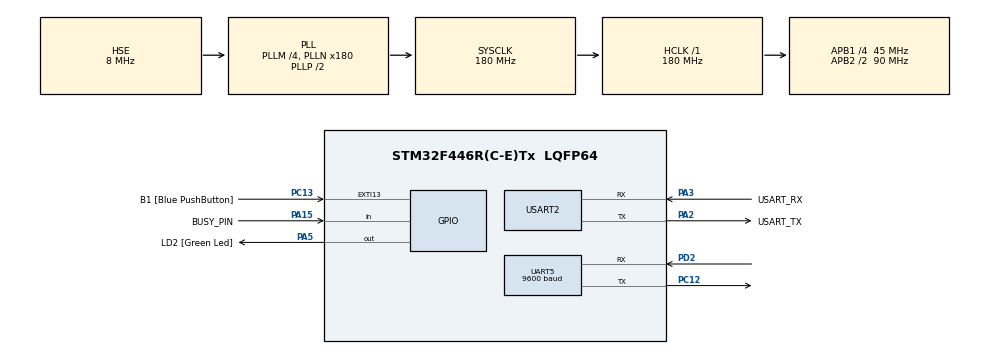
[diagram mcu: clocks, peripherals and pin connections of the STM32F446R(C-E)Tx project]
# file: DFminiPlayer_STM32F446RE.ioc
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Dma.Request0=UART5_TX
Dma.Request1=UART5_RX
Dma.UART5_RX.1.Direction=DMA_PERIPH_TO_MEMORY
Dma.UART5_RX.1.FIFOMode=DMA_FIFOMODE_DISABLE
Dma.UART5_RX.1.Instance=DMA1_Stream0
Dma.UART5_RX.1.MemDataAlignment=DMA_MDATAALIGN_BYTE
Dma.UART5_RX.1.MemInc=DMA_MINC_ENABLE
Dma.UART5_RX.1.Mode=DMA_NORMAL
Dma.UART5_RX.1.PeriphDataAlignment=DMA_PDATAALIGN_BYTE
Dma.UART5_RX.1.PeriphInc=DMA_PINC_DISABLE
Dma.UART5_RX.1.Priority=DMA_PRIORITY_LOW
Dma.UART5_TX.0.Direction=DMA_MEMORY_TO_PERIPH
Dma.UART5_TX.0.FIFOMode=DMA_FIFOMODE_DISABLE
Dma.UART5_TX.0.Instance=DMA1_Stream7
Dma.UART5_TX.0.MemDataAlignment=DMA_MDATAALIGN_BYTE
Dma.UART5_TX.0.MemInc=DMA_MINC_ENABLE
Dma.UART5_TX.0.Mode=DMA_NORMAL
Dma.UART5_TX.0.PeriphDataAlignment=DMA_PDATAALIGN_BYTE
Dma.UART5_TX.0.PeriphInc=DMA_PINC_DISABLE
Dma.UART5_TX.0.Priority=DMA_PRIORITY_LOW
Mcu.Family=STM32F4
Mcu.Name=STM32F446R(C-E)Tx
Mcu.Package=LQFP64
NVIC.DMA1_Stream0_IRQn=true\:0\:0\:false\:false\:true\:false\:true\:true
NVIC.DMA1_Stream7_IRQn=true\:0\:0\:false\:false\:true\:false\:true\:true
NVIC.PriorityGroup=NVIC_PRIORITYGROUP_0
PA13.GPIO_Label=TMS
PA13.Mode=Serial_Wire
PA13.Signal=SYS_JTMS-SWDIO
PA14.GPIO_Label=TCK
PA14.Mode=Serial_Wire
PA14.Signal=SYS_JTCK-SWCLK
PA15.GPIO_Label=BUSY_PIN
PA15.Signal=GPIO_Input
PA2.GPIO_Label=USART_TX
PA2.Mode=Asynchronous
PA2.Signal=USART2_TX
PA3.GPIO_Label=USART_RX
PA3.Mode=Asynchronous
PA3.Signal=USART2_RX
PA5.GPIO_Label=LD2 [Green Led]
PA5.Signal=GPIO_Output
PB3.GPIO_Label=SWO
PB3.Signal=SYS_JTDO-SWO
PC12.Mode=Asynchronous
PC12.Signal=UART5_TX
PC13.GPIO_Label=B1 [Blue PushButton]
PC13.GPIO_ModeDefaultEXTI=GPIO_MODE_IT_FALLING
PC13.Signal=GPXTI13
PC14-OSC32_IN.Mode=LSE-External-Oscillator
PC14-OSC32_IN.Signal=RCC_OSC32_IN
PC15-OSC32_OUT.Mode=LSE-External-Oscillator
PC15-OSC32_OUT.Signal=RCC_OSC32_OUT
PD2.Mode=Asynchronous
PD2.Signal=UART5_RX
PH0-OSC_IN.Mode=HSE-External-Oscillator
PH0-OSC_IN.Signal=RCC_OSC_IN
PH1-OSC_OUT.Mode=HSE-External-Oscillator
PH1-OSC_OUT.Signal=RCC_OSC_OUT
ProjectManager.HeapSize=0x200
ProjectManager.StackSize=0x400
ProjectManager.TargetToolchain=CMake
RCC.48MHZClocksFreq_Value=84000000
RCC.AHBFreq_Value=180000000
RCC.APB1CLKDivider=RCC_HCLK_DIV4
RCC.APB1Freq_Value=45000000
RCC.APB1TimFreq_Value=90000000
RCC.APB2CLKDivider=RCC_HCLK_DIV2
RCC.APB2Freq_Value=90000000
RCC.APB2TimFreq_Value=180000000
RCC.CortexFreq_Value=180000000
RCC.FLatency-AdvancedSettings=FLASH_LATENCY_5
RCC.HCLKFreq_Value=180000000
RCC.HSE_VALUE=8000000
RCC.HSI_VALUE=16000000
RCC.PLLM=4
RCC.PLLN=180
RCC.PLLSourceVirtual=RCC_PLLSOURCE_HSE
RCC.SYSCLKFreq_VALUE=180000000
RCC.SYSCLKSource=RCC_SYSCLKSOURCE_PLLCLK
RCC.USBFreq_Value=180000000
RCC.VCOOutputFreq_Value=360000000
TIM3.Period=65535 -1
TIM3.Prescaler=180-1
UART5.BaudRate=9600
UART5.VirtualMode=Asynchronous
USART2.VirtualMode=VM_ASYNC
VP_TIM3_VS_ClockSourceINT.Mode=Internal
board=NUCLEO-F446RE

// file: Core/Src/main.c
/* USER CODE BEGIN Header */
/**
  ******************************************************************************
  * @file           : main.c
  * @brief          : Main program body
  ******************************************************************************
  * @attention
  *
  * Copyright (c) 2025 STMicroelectronics.
  * All rights reserved.
  *
  * This software is licensed under terms that can be found in the LICENSE file
  * in the root directory of this software component.
  * If no LICENSE file comes with this software, it is provided AS-IS.
  *
  ******************************************************************************
  */
/* USER CODE END Header */
#include "main.h"
#include "Serial.h"
#include "dfminiplayer.h"

/* USER CODE BEGIN PM */
struct DFPlayerMiniData dfpl;
#define UART_BUFFER 10
uint8_t Rx3Data[UART_BUFFER];
/* USER CODE END PM */

TIM_HandleTypeDef htim3;

UART_HandleTypeDef huart5;
UART_HandleTypeDef huart2;
DMA_HandleTypeDef hdma_uart5_tx;
DMA_HandleTypeDef hdma_uart5_rx;

void SystemClock_Config(void);
static void MX_GPIO_Init(void);
static void MX_DMA_Init(void);
static void MX_TIM3_Init(void);
static void MX_UART5_Init(void);
static void MX_USART2_UART_Init(void);
/* USER CODE BEGIN PFP */
void printDetail(uint8_t type, int value);
void initmodules();
/* USER CODE END PFP */

/* USER CODE BEGIN 0 */
void HAL_UART_RxCpltCallback( UART_HandleTypeDef *huart )
{
  Serial_pushData(Rx3Data, UART_BUFFER);
	Serial_print(&huart2," %s","R: " );
	for( int i = 0; i < UART_BUFFER; i++ ){
		Serial_print(&huart2,"%1X ",Rx3Data[i] );
	}
	Serial_print(&huart2," %s","\n" );
	HAL_UART_Receive_DMA(huart, Rx3Data,UART_BUFFER);
}

void printDetail(uint8_t type, int value){
  switch (type) {
    case TimeOut:
      Serial_print(&huart2, "%s\n","Time Out!");
      break;
    case WrongStack:
      Serial_print(&huart2, "%s\n","Stack Wrong!");
      break;
    case DFPlayerCardInserted:
      Serial_print(&huart2, "%s\n","Card Inserted!");
      break;
    case DFPlayerCardRemoved:
      Serial_print(&huart2, "%s\n","Card Removed!");
      break;
    case DFPlayerCardOnline:
      Serial_print(&huart2, "%s\n","Card Online!");
      break;
    case DFPlayerUSBInserted:
      Serial_print(&huart2, "%s\n","USB Inserted!");
      break;
    case DFPlayerUSBRemoved:
    Serial_print(&huart2, "%s\n","USB Removed!");
      break;
    case DFPlayerPlayFinished:
      Serial_print(&huart2, "Number %d Play Finished!\n", value);
      break;
    case DFPlayerError:
      Serial_print(&huart2, "%s\n","DFPlayerError:");
      switch (value) {
        case Busy:
          Serial_print(&huart2, "%s\n","Card not found");
          break;
        case Sleeping:
          Serial_print(&huart2, "%s\n","Sleeping");
          break;
        case SerialWrongStack:
          Serial_print(&huart2, "%s\n","Get Wrong Stack");
          break;
        case CheckSumNotMatch:
          Serial_print(&huart2, "%s\n","Check Sum Not Match");
          break;
        case FileIndexOut:
          Serial_print(&huart2, "%s\n","File Index Out of Bound");
          break;
        case FileMismatch:
          Serial_print(&huart2, "%s\n","Cannot Find File");
          break;
        case Advertise:
          Serial_print(&huart2, "%s\n", "In Advertise");
          break;
        default:
          break;
      }
      break;
    default:
      break;
  }

}

void initmodules()
{
      dfpl._timeOutDuration = 500;
      dfpl._sending[0] = 0x7E; //{0x7E, 0xFF, 06, 00, 01, 00, 00, 00, 00, 0xEF};
      dfpl._sending[1] = 0xFF;
      dfpl._sending[2] = 06;
      dfpl._sending[3] = 00;
      dfpl._sending[4] = 01;
      dfpl._sending[5] = 00;
      dfpl._sending[6] = 00;
      dfpl._sending[7] = 00;
      dfpl._sending[8] = 00;
      dfpl._sending[9] = 0xEF;
      dfpl._receivedIndex = 0;
      dfpl.device = DFPLAYER_DEVICE_SD;
      dfpl._isAvailable = false;
      dfpl._isSending = false;
      dfpl.df_uart = huart5;
      dfpl.debug_uart = huart2;
      dfpl.dfBusyPin = BUSY_PIN_Pin;
      dfpl.dfBusyPort = BUSY_PIN_GPIO_Port;

      Serial_print(&huart2, "%s","\n");
      Serial_print(&huart2, "%s","DFRobot DFPlayer Mini Demo on STM32F\n");
      Serial_print(&huart2, "%s","Initializing DFPlayer\n");

  if (!DFPLayerMini_begin(&dfpl,true,true)) {  //Use serial to communicate with mp3.
    Serial_print(&huart2, "%s","Unable to begin:\n");
    Serial_print(&huart2, "%s","1.Please recheck the connection!\n");
    Serial_print(&huart2, "%s","2.Please insert the SD card!\n");
    while(true);
  }
  Serial_print(&huart2, "%s","DFPlayer Mini online.");

  DFPLayerMini_setTimeOut(&dfpl,500); //Set serial communictaion time out 500ms

  //----Set volume----
  DFPLayerMini_volume(&dfpl,10);  //Set volume value (0~30).
  DFPLayerMini_volumeUp(&dfpl); //Volume Up
  DFPLayerMini_volumeDown(&dfpl); //Volume Down

  //----Set different EQ----
  DFPLayerMini_EQ(&dfpl,DFPLAYER_EQ_NORMAL);
//  DFPLayerMini_EQ(&dfpl,DFPLAYER_EQ_POP);
//  DFPLayerMini_EQ(&dfpl,DFPLAYER_EQ_ROCK);
//  DFPLayerMini_EQ(&dfpl,DFPLAYER_EQ_JAZZ);
//  DFPLayerMini_EQ(&dfpl,DFPLAYER_EQ_CLASSIC);
//  DFPLayerMini_EQ(&dfpl,DFPLAYER_EQ_BASS);

  //----Set device we use SD as default----
//  DFPLayerMini_outputDevice(DFPLAYER_DEVICE_U_DISK);
  DFPLayerMini_outputDevice(&dfpl,DFPLAYER_DEVICE_SD);
//  DFPLayerMini_outputDevice(DFPLAYER_DEVICE_AUX);
//  DFPLayerMini_outputDevice(DFPLAYER_DEVICE_SLEEP);
//  DFPLayerMini_outputDevice(DFPLAYER_DEVICE_FLASH);

  //----Mp3 control----
//  DFPLayerMini_sleep();     //sleep
//  DFPLayerMini_reset();     //Reset the module
//  DFPLayerMini_enableDAC();  //Enable On-chip DAC
//  DFPLayerMini_disableDAC();  //Disable On-chip DAC
//  DFPLayerMini_outputSetting(true, 15); //output setting, enable the output and set the gain to 15

  //----Mp3 play----
  DFPLayerMini_next(&dfpl);  //Play next mp3
  HAL_Delay(1000);
  DFPLayerMini_previous(&dfpl);  //Play previous mp3
  HAL_Delay(1000);
  DFPLayerMini_play(&dfpl,1);  //Play the first mp3
  HAL_Delay(1000);
  DFPLayerMini_loop(&dfpl, 1);  //Loop the first mp3
  HAL_Delay(1000);
  DFPLayerMini_pause(&dfpl);  //pause the mp3
  HAL_Delay(1000);
  DFPLayerMini_start(&dfpl);  //start the mp3 from the pause
  HAL_Delay(1000);
  //DFPLayerMini_playFolder(1, 1);  //play specific mp3 in SD:/1/001.mp3; Folder Name(1~99); File Name(1~255)
  //HAL_Delay(1000);
  DFPLayerMini_enableLoopAll(&dfpl); //loop all mp3 files.
  HAL_Delay(1000);
  DFPLayerMini_disableLoopAll(&dfpl); //stop loop all mp3 files.
  HAL_Delay(1000);
  DFPLayerMini_playMp3Folder(&dfpl,4); //play specific mp3 in SD:/MP3/0004.mp3; File Name(0~65535)
  HAL_Delay(1000);
  DFPLayerMini_advertise(&dfpl,3); //advertise specific mp3 in SD:/ADVERT/0003.mp3; File Name(0~65535)
  HAL_Delay(1000);
  DFPLayerMini_stopAdvertise(&dfpl); //stop advertise
  HAL_Delay(1000);
  //DFPLayerMini_playLargeFolder(&dfpl,2, 999); //play specific mp3 in SD:/02/004.mp3; Folder Name(1~10); File Name(1~1000)
  //HAL_Delay(1000);
  DFPLayerMini_loopFolder(&dfpl, 5); //loop all mp3 files in folder SD:/05.
  HAL_Delay(1000);
  DFPLayerMini_randomAll(&dfpl); //Random play all the mp3.
  HAL_Delay(1000);
  DFPLayerMini_enableLoop(&dfpl); //enable loop.
  HAL_Delay(1000);
  DFPLayerMini_disableLoop(&dfpl); //disable loop.
  HAL_Delay(1000);

  //----Read imformation----
  Serial_print(&huart2, "read State: %d\n", DFPLayerMini_readState(&dfpl)); //read mp3 state
  Serial_print(&huart2, "read Volume: %d\n", DFPLayerMini_readVolume(&dfpl)); //read current volume
  Serial_print(&huart2, "read EQ: %d\n", DFPLayerMini_readEQ(&dfpl)); //read EQ setting
  Serial_print(&huart2, "read File Counts: %d\n", DFPLayerMini_readFileCounts(&dfpl)); //read all file counts in SD card
  Serial_print(&huart2, "read Current File Number: %d\n", DFPLayerMini_readCurrentFileNumber(&dfpl)); //read current play file number
  //Serial_print(&huart2, "read File Counts in Folder: %d\n", DFPLayerMini_readFileCountsInFolder(&dfpl,3)); //read file counts in folder SD:/03

}
/* USER CODE END 0 */

int main(void)
{

  /* MCU Configuration--------------------------------------------------------*/

  /* Reset of all peripherals, Initializes the Flash interface and the Systick. */
  HAL_Init();

  /* Configure the system clock */
  SystemClock_Config();

  /* Initialize all configured peripherals */
  MX_GPIO_Init();
  MX_DMA_Init();
  MX_TIM3_Init();
  MX_UART5_Init();
  MX_USART2_UART_Init();
  /* USER CODE BEGIN 2 */
  HAL_TIM_Base_Start(&htim3);
  HAL_UART_Receive_DMA(&huart5, Rx3Data, UART_BUFFER);
  initmodules();
  uint32_t timer = HAL_GetTick();
  /* USER CODE END 2 */

  /* Infinite loop */
  while (1)
  {

    if (HAL_GetTick() - timer > 10000) {
      timer = HAL_GetTick();
      DFPLayerMini_next(&dfpl);  //Play next mp3 every 10 second.
    }

    if (DFPLayerMini_available(&dfpl)) {
      printDetail(DFPLayerMini_readType(&dfpl), DFPLayerMini_read(&dfpl)); //Print the detail message from DFPlayer to handle different errors and states.
    }
  }
}

void SystemClock_Config(void)
{
  RCC_OscInitTypeDef RCC_OscInitStruct = {0};
  RCC_ClkInitTypeDef RCC_ClkInitStruct = {0};

  /** Configure the main internal regulator output voltage
  */
  __HAL_RCC_PWR_CLK_ENABLE();
  __HAL_PWR_VOLTAGESCALING_CONFIG(PWR_REGULATOR_VOLTAGE_SCALE1);

  /** Initializes the RCC Oscillators according to the specified parameters
  * in the RCC_OscInitTypeDef structure.
  */
  RCC_OscInitStruct.OscillatorType = RCC_OSCILLATORTYPE_HSE;
  RCC_OscInitStruct.HSEState = RCC_HSE_ON;
  RCC_OscInitStruct.PLL.PLLState = RCC_PLL_ON;
  RCC_OscInitStruct.PLL.PLLSource = RCC_PLLSOURCE_HSE;
  RCC_OscInitStruct.PLL.PLLM = 4;
  RCC_OscInitStruct.PLL.PLLN = 180;
  RCC_OscInitStruct.PLL.PLLP = RCC_PLLP_DIV2;
  RCC_OscInitStruct.PLL.PLLQ = 2;
  RCC_OscInitStruct.PLL.PLLR = 2;
  if (HAL_RCC_OscConfig(&RCC_OscInitStruct) != HAL_OK)
  {
    Error_Handler();
  }

  /** Activate the Over-Drive mode
  */
  if (HAL_PWREx_EnableOverDrive() != HAL_OK)
  {
    Error_Handler();
  }

  /** Initializes the CPU, AHB and APB buses clocks
  */
  RCC_ClkInitStruct.ClockType = RCC_CLOCKTYPE_HCLK|RCC_CLOCKTYPE_SYSCLK
                              |RCC_CLOCKTYPE_PCLK1|RCC_CLOCKTYPE_PCLK2;
  RCC_ClkInitStruct.SYSCLKSource = RCC_SYSCLKSOURCE_PLLCLK;
  RCC_ClkInitStruct.AHBCLKDivider = RCC_SYSCLK_DIV1;
  RCC_ClkInitStruct.APB1CLKDivider = RCC_HCLK_DIV4;
  RCC_ClkInitStruct.APB2CLKDivider = RCC_HCLK_DIV2;

  if (HAL_RCC_ClockConfig(&RCC_ClkInitStruct, FLASH_LATENCY_5) != HAL_OK)
  {
    Error_Handler();
  }
}

static void MX_TIM3_Init(void)
{

  TIM_ClockConfigTypeDef sClockSourceConfig = {0};
  TIM_MasterConfigTypeDef sMasterConfig = {0};

  htim3.Instance = TIM3;
  htim3.Init.Prescaler = 180-1;
  htim3.Init.CounterMode = TIM_COUNTERMODE_UP;
  htim3.Init.Period = 65535 -1;
  htim3.Init.ClockDivision = TIM_CLOCKDIVISION_DIV1;
  htim3.Init.AutoReloadPreload = TIM_AUTORELOAD_PRELOAD_DISABLE;
  if (HAL_TIM_Base_Init(&htim3) != HAL_OK)
  {
    Error_Handler();
  }
  sClockSourceConfig.ClockSource = TIM_CLOCKSOURCE_INTERNAL;
  if (HAL_TIM_ConfigClockSource(&htim3, &sClockSourceConfig) != HAL_OK)
  {
    Error_Handler();
  }
  sMasterConfig.MasterOutputTrigger = TIM_TRGO_RESET;
  sMasterConfig.MasterSlaveMode = TIM_MASTERSLAVEMODE_DISABLE;
  if (HAL_TIMEx_MasterConfigSynchronization(&htim3, &sMasterConfig) != HAL_OK)
  {
    Error_Handler();
  }

}

static void MX_UART5_Init(void)
{

  huart5.Instance = UART5;
  huart5.Init.BaudRate = 9600;
  huart5.Init.WordLength = UART_WORDLENGTH_8B;
  huart5.Init.StopBits = UART_STOPBITS_1;
  huart5.Init.Parity = UART_PARITY_NONE;
  huart5.Init.Mode = UART_MODE_TX_RX;
  huart5.Init.HwFlowCtl = UART_HWCONTROL_NONE;
  huart5.Init.OverSampling = UART_OVERSAMPLING_16;
  if (HAL_UART_Init(&huart5) != HAL_OK)
  {
    Error_Handler();
  }

}

static void MX_USART2_UART_Init(void)
{

  huart2.Instance = USART2;
  huart2.Init.BaudRate = 115200;
  huart2.Init.WordLength = UART_WORDLENGTH_8B;
  huart2.Init.StopBits = UART_STOPBITS_1;
  huart2.Init.Parity = UART_PARITY_NONE;
  huart2.Init.Mode = UART_MODE_TX_RX;
  huart2.Init.HwFlowCtl = UART_HWCONTROL_NONE;
  huart2.Init.OverSampling = UART_OVERSAMPLING_16;
  if (HAL_UART_Init(&huart2) != HAL_OK)
  {
    Error_Handler();
  }

}

static void MX_DMA_Init(void)
{

  /* DMA controller clock enable */
  __HAL_RCC_DMA1_CLK_ENABLE();

  /* DMA interrupt init */
  /* DMA1_Stream0_IRQn interrupt configuration */
  HAL_NVIC_SetPriority(DMA1_Stream0_IRQn, 0, 0);
  HAL_NVIC_EnableIRQ(DMA1_Stream0_IRQn);
  /* DMA1_Stream7_IRQn interrupt configuration */
  HAL_NVIC_SetPriority(DMA1_Stream7_IRQn, 0, 0);
  HAL_NVIC_EnableIRQ(DMA1_Stream7_IRQn);

}

static void MX_GPIO_Init(void)
{
  GPIO_InitTypeDef GPIO_InitStruct = {0};

  /* GPIO Ports Clock Enable */
  __HAL_RCC_GPIOC_CLK_ENABLE();
  __HAL_RCC_GPIOH_CLK_ENABLE();
  __HAL_RCC_GPIOA_CLK_ENABLE();
  __HAL_RCC_GPIOD_CLK_ENABLE();
  __HAL_RCC_GPIOB_CLK_ENABLE();

  /*Configure GPIO pin Output Level */
  HAL_GPIO_WritePin(LD2_GPIO_Port, LD2_Pin, GPIO_PIN_RESET);

  /*Configure GPIO pin : B1_Pin */
  GPIO_InitStruct.Pin = B1_Pin;
  GPIO_InitStruct.Mode = GPIO_MODE_IT_FALLING;
  GPIO_InitStruct.Pull = GPIO_NOPULL;
  HAL_GPIO_Init(B1_GPIO_Port, &GPIO_InitStruct);

  /*Configure GPIO pin : LD2_Pin */
  GPIO_InitStruct.Pin = LD2_Pin;
  GPIO_InitStruct.Mode = GPIO_MODE_OUTPUT_PP;
  GPIO_InitStruct.Pull = GPIO_NOPULL;
  GPIO_InitStruct.Speed = GPIO_SPEED_FREQ_LOW;
  HAL_GPIO_Init(LD2_GPIO_Port, &GPIO_InitStruct);

  /*Configure GPIO pin : BUSY_PIN_Pin */
  GPIO_InitStruct.Pin = BUSY_PIN_Pin;
  GPIO_InitStruct.Mode = GPIO_MODE_INPUT;
  GPIO_InitStruct.Pull = GPIO_NOPULL;
  HAL_GPIO_Init(BUSY_PIN_GPIO_Port, &GPIO_InitStruct);

}

void Error_Handler(void)
{
  __disable_irq();
  while (1)
  {
  }
}
